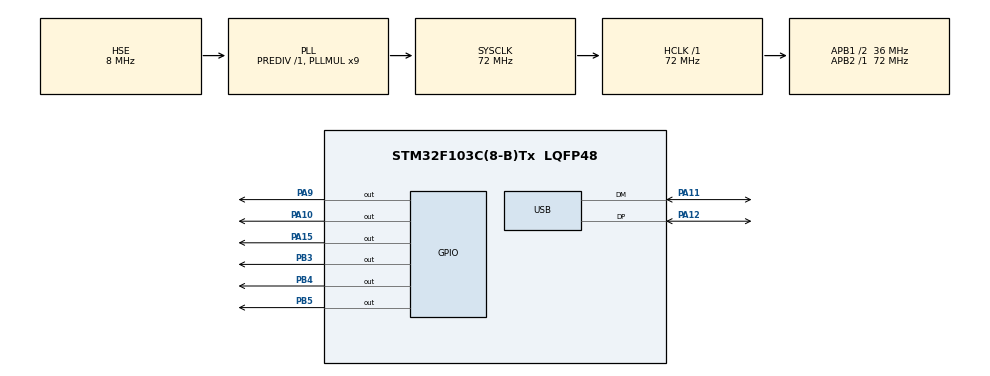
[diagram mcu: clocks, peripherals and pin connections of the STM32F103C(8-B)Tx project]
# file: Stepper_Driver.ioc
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Mcu.Family=STM32F1
Mcu.Name=STM32F103C(8-B)Tx
Mcu.Package=LQFP48
NVIC.PriorityGroup=NVIC_PRIORITYGROUP_4
NVIC.TIM2_IRQn=true\:0\:0\:false\:false\:true\:true\:true\:true
NVIC.USB_LP_CAN1_RX0_IRQn=true\:0\:0\:false\:false\:true\:false\:true\:true
PA10.Signal=GPIO_Output
PA11.Mode=Device
PA11.Signal=USB_DM
PA12.Mode=Device
PA12.Signal=USB_DP
PA15.Signal=GPIO_Output
PA9.Signal=GPIO_Output
PB3.Signal=GPIO_Output
PB4.Signal=GPIO_Output
PB5.Signal=GPIO_Output
PD0-OSC_IN.Mode=HSE-External-Oscillator
PD0-OSC_IN.Signal=RCC_OSC_IN
PD1-OSC_OUT.Mode=HSE-External-Oscillator
PD1-OSC_OUT.Signal=RCC_OSC_OUT
ProjectManager.HeapSize=0x200
ProjectManager.StackSize=0x400
ProjectManager.TargetToolchain=STM32CubeIDE
RCC.AHBFreq_Value=72000000
RCC.APB1CLKDivider=RCC_HCLK_DIV2
RCC.APB1Freq_Value=36000000
RCC.APB1TimFreq_Value=72000000
RCC.APB2Freq_Value=72000000
RCC.APB2TimFreq_Value=72000000
RCC.HCLKFreq_Value=72000000
RCC.PLLMUL=RCC_PLL_MUL9
RCC.SYSCLKFreq_VALUE=72000000
RCC.SYSCLKSource=RCC_SYSCLKSOURCE_PLLCLK
RCC.USBFreq_Value=48000000
RCC.USBPrescaler=RCC_USBCLKSOURCE_PLL_DIV1_5
TIM2.Period=374
TIM2.Prescaler=2
USB_DEVICE.CLASS_NAME_FS=CDC
USB_DEVICE.VirtualMode=Cdc
USB_DEVICE.VirtualModeFS=Cdc_FS
VP_SYS_VS_ND.Mode=No_Debug
VP_TIM2_VS_ClockSourceINT.Mode=Internal
VP_USB_DEVICE_VS_USB_DEVICE_CDC_FS.Mode=CDC_FS
board=custom

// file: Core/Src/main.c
/* USER CODE BEGIN Header */
/**
  ******************************************************************************
  * @file           : main.c
  * @brief          : Main program body
  ******************************************************************************
  * @attention
  *
  * Copyright (c) 2025 STMicroelectronics.
  * All rights reserved.
  *
  * This software is licensed under terms that can be found in the LICENSE file
  * in the root directory of this software component.
  * If no LICENSE file comes with this software, it is provided AS-IS.
  *
  ******************************************************************************
  */
/* USER CODE END Header */
#include "main.h"
#include "usb_device.h"

/* USER CODE BEGIN Includes */
#include "usbd_cdc_if.h"
#include "string.h"
#include <stdio.h>
#include <math.h>
/* USER CODE END Includes */

/* USER CODE BEGIN PD */
#define USB_BUF_LEN 128
#define UPDATE_PROFILE_PERIOD 1
/* USER CODE END PD */

TIM_HandleTypeDef htim2;

/* USER CODE BEGIN PV */
uint8_t usb_tx_buffer[USB_BUF_LEN];
uint16_t usb_tx_buf_len;

uint8_t usb_rx_buffer[USB_BUF_LEN];
uint16_t usb_rx_buf_len;
uint8_t rx_flag = 0;

float target_setpoints[3];
float current_setpoints[3];

float TICK_PERIOD = 0.015625; // ms/tick
float TICKS_PER_UPDATE;

float position_kP = 0.00024;
float MOTOR_MAX_SPEED = 0.3; // steps/tick
float MOTOR_MAX_ACCEL = 3.f; // steps/tick/s

float MOTOR_MAX_ANGLE = 70.; // degrees
float MOTOR_MIN_ANGLE = -30; // degrees
float MOTOR_MAX_ERR_STEPS;
float MOTOR_MAX_ERR_ACCEL_STEPS;

float stupid_debug_variable = 0;
float stupid_debug_variable2 = 0;

/* USER CODE END PV */

void SystemClock_Config(void);
static void MX_GPIO_Init(void);
static void MX_TIM2_Init(void);

/* USER CODE BEGIN 0 */

void USB_RX_Callback(uint8_t* Buf, uint32_t *Len){
	memcpy(usb_rx_buffer, Buf, *Len);
	usb_rx_buf_len = *Len;
	rx_flag = 1;

	usb_rx_buffer[*Len] = '\0';

	char* token = strtok((char*) usb_rx_buffer, " ");
	target_setpoints[0] = atoff(token);

	token = strtok(NULL, " ");
	target_setpoints[1] = atoff(token);

	token = strtok(NULL, " ");
	target_setpoints[2] = atoff(token);

}

float sign(float n){
	return (n > 0) ? 1.f : -1.f;
}

int Degrees_to_Steps(float angle){
	return (int)((angle/360.)*3200.);
}

float Steps_to_Degrees(int steps){
	return (steps/3200.) * 360;
}

float Ticks_to_Ms(float ticks){
	return ticks*TICK_PERIOD;
}

float Ms_to_Ticks(float ms){
	return ms/TICK_PERIOD;
}

typedef struct {
	GPIO_TypeDef* step_port;
	GPIO_TypeDef* dir_port;
	uint16_t step_pin;
	uint16_t dir_pin;
	float step_accum;
	float velocity_current;
	float speed_max;
	float accel;
	int direction;
	int position_current;
	int position_target;
	int total_error;
} StepperMotor;

StepperMotor CreateMotorDefault(GPIO_TypeDef* step_port, GPIO_TypeDef* dir_port,
		uint16_t step_pin, uint16_t dir_pin){
	return (StepperMotor){
		step_port,
		dir_port,
		step_pin,
		dir_pin,
		0,
		0,
		MOTOR_MAX_SPEED,
		MOTOR_MAX_ACCEL,
		0,
		0,
		0,
		0};
}

StepperMotor motor1;
StepperMotor motor2;
StepperMotor motor3;

// FUNCTION DEFINES

void Step_Motor(StepperMotor* motor, uint8_t* flag);

// UPDATES
void Update_Positions(float ang1, float ang2, float ang3);
void Update_Stepper(StepperMotor* motor, int new_target, float max_speed, float accel);
void Update_Stepper_Degrees(StepperMotor* motor, float position);
void Update_Stepper_Speeds();
void Update_Stepper_Speed(StepperMotor* motor, int* decel_steps, uint8_t* calc_flag);
void Update_Profiles(int steps1, int steps2, int steps3);

// UTIL

void Generate_Profile(StepperMotor* motor, float error, float speed, float accel);

/* USER CODE END 0 */

int main(void)
{

  /* USER CODE BEGIN 1 */
	TICKS_PER_UPDATE = ((float) UPDATE_PROFILE_PERIOD) / TICK_PERIOD;

  /* USER CODE END 1 */

  /* MCU Configuration--------------------------------------------------------*/

  /* Reset of all peripherals, Initializes the Flash interface and the Systick. */
  HAL_Init();

  /* Configure the system clock */
  SystemClock_Config();

  /* Initialize all configured peripherals */
  MX_GPIO_Init();
  MX_TIM2_Init();
  MX_USB_DEVICE_Init();
  /* USER CODE BEGIN 2 */

  HAL_TIM_Base_Start_IT(&htim2);
  HAL_TIM_Base_Start(&htim2);

  motor1 = CreateMotorDefault(GPIOA, GPIOA, 9, 10);
  motor2 = CreateMotorDefault(GPIOA, GPIOB, 15, 3);
  motor3 = CreateMotorDefault(GPIOB, GPIOB, 4, 5);

  uint32_t currTime = 0;
  uint32_t prevTimeProfileFollow = 0;
  uint32_t prevTimeTransmit = 0;

  motor1.position_current = Degrees_to_Steps(-32.78);
  motor2.position_current = Degrees_to_Steps(-32.78);
  motor3.position_current = Degrees_to_Steps(-32.78);

  motor1.position_target = Degrees_to_Steps(-32.78);
  motor2.position_target = Degrees_to_Steps(-32.78);
  motor3.position_target = Degrees_to_Steps(-32.78);

  MOTOR_MAX_ERR_ACCEL_STEPS = (float) Degrees_to_Steps(53);
  MOTOR_MAX_ERR_STEPS = (float) (Degrees_to_Steps(MOTOR_MAX_ANGLE) - Degrees_to_Steps(MOTOR_MIN_ANGLE));

  /* USER CODE END 2 */

  /* Infinite loop */
  /* USER CODE BEGIN WHILE */
  while (1)
  {
	currTime = HAL_GetTick();

//	if(currTime - prevTimeStepUpdate > 4000){
////			Update_Positions(-30,70,70);
//
//		Update_Positions(Steps_to_Degrees(motor1.position_current) + 10,
//		Steps_to_Degrees(motor2.position_current) + 180.,
//		Steps_to_Degrees(motor3.position_current) + 45.);
//		prevTimeStepUpdate = currTime;
//	}
//
//	else if (currTime - prevTimeStepUpdate > 3000){
//		Update_Positions(-180,-180,-180);
//	}
//
//	else if (currTime - prevTimeStepUpdate > 2000){
//			Update_Positions(70,-10,0);
//	}
//
//	else if (currTime - prevTimeStepUpdate > 1000){
//		Update_Positions(180,180,180);
//	}

	if(currTime - prevTimeProfileFollow >= UPDATE_PROFILE_PERIOD){

		Update_Stepper_Speeds();

		prevTimeProfileFollow = currTime;
	}

	if(currTime - prevTimeTransmit >= 50){
		if(1){//motor1.position_current != motor1.position_target){
			usb_tx_buf_len = snprintf((char*) usb_tx_buffer, USB_BUF_LEN,
					"vi %f vm %f pc %d pt %d debug: %f %f\r\n",
					motor1.velocity_current,
					motor1.speed_max,
					motor1.position_current,
					motor1.position_target,
					stupid_debug_variable,
					stupid_debug_variable2);
			CDC_Transmit_FS(usb_tx_buffer, usb_tx_buf_len);
		}
		prevTimeTransmit = currTime;
	}

	if(rx_flag && usb_rx_buf_len){

		//usb_tx_buf_len = snprintf((char*) usb_tx_buffer, USB_BUF_LEN, "%0.2f %0.2f %0.2f\r\n", target_setpoints[0] ,target_setpoints[1], target_setpoints[2]);
		//CDC_Transmit_FS(usb_tx_buffer, usb_tx_buf_len);

		Update_Positions(target_setpoints[0], target_setpoints[1], target_setpoints[2]);

		rx_flag = 0;
		usb_rx_buf_len = 0;

		prevTimeTransmit = currTime;

	}

    /* USER CODE END WHILE */

  }
}

void SystemClock_Config(void)
{
  RCC_OscInitTypeDef RCC_OscInitStruct = {0};
  RCC_ClkInitTypeDef RCC_ClkInitStruct = {0};
  RCC_PeriphCLKInitTypeDef PeriphClkInit = {0};

  /** Initializes the RCC Oscillators according to the specified parameters
  * in the RCC_OscInitTypeDef structure.
  */
  RCC_OscInitStruct.OscillatorType = RCC_OSCILLATORTYPE_HSE;
  RCC_OscInitStruct.HSEState = RCC_HSE_ON;
  RCC_OscInitStruct.HSEPredivValue = RCC_HSE_PREDIV_DIV1;
  RCC_OscInitStruct.HSIState = RCC_HSI_ON;
  RCC_OscInitStruct.PLL.PLLState = RCC_PLL_ON;
  RCC_OscInitStruct.PLL.PLLSource = RCC_PLLSOURCE_HSE;
  RCC_OscInitStruct.PLL.PLLMUL = RCC_PLL_MUL9;
  if (HAL_RCC_OscConfig(&RCC_OscInitStruct) != HAL_OK)
  {
    Error_Handler();
  }

  /** Initializes the CPU, AHB and APB buses clocks
  */
  RCC_ClkInitStruct.ClockType = RCC_CLOCKTYPE_HCLK|RCC_CLOCKTYPE_SYSCLK
                              |RCC_CLOCKTYPE_PCLK1|RCC_CLOCKTYPE_PCLK2;
  RCC_ClkInitStruct.SYSCLKSource = RCC_SYSCLKSOURCE_PLLCLK;
  RCC_ClkInitStruct.AHBCLKDivider = RCC_SYSCLK_DIV1;
  RCC_ClkInitStruct.APB1CLKDivider = RCC_HCLK_DIV2;
  RCC_ClkInitStruct.APB2CLKDivider = RCC_HCLK_DIV1;

  if (HAL_RCC_ClockConfig(&RCC_ClkInitStruct, FLASH_LATENCY_2) != HAL_OK)
  {
    Error_Handler();
  }
  PeriphClkInit.PeriphClockSelection = RCC_PERIPHCLK_USB;
  PeriphClkInit.UsbClockSelection = RCC_USBCLKSOURCE_PLL_DIV1_5;
  if (HAL_RCCEx_PeriphCLKConfig(&PeriphClkInit) != HAL_OK)
  {
    Error_Handler();
  }
}

static void MX_TIM2_Init(void)
{

  TIM_ClockConfigTypeDef sClockSourceConfig = {0};
  TIM_MasterConfigTypeDef sMasterConfig = {0};

  htim2.Instance = TIM2;
  htim2.Init.Prescaler = 2;
  htim2.Init.CounterMode = TIM_COUNTERMODE_UP;
  htim2.Init.Period = 374;
  htim2.Init.ClockDivision = TIM_CLOCKDIVISION_DIV1;
  htim2.Init.AutoReloadPreload = TIM_AUTORELOAD_PRELOAD_DISABLE;
  if (HAL_TIM_Base_Init(&htim2) != HAL_OK)
  {
    Error_Handler();
  }
  sClockSourceConfig.ClockSource = TIM_CLOCKSOURCE_INTERNAL;
  if (HAL_TIM_ConfigClockSource(&htim2, &sClockSourceConfig) != HAL_OK)
  {
    Error_Handler();
  }
  sMasterConfig.MasterOutputTrigger = TIM_TRGO_RESET;
  sMasterConfig.MasterSlaveMode = TIM_MASTERSLAVEMODE_DISABLE;
  if (HAL_TIMEx_MasterConfigSynchronization(&htim2, &sMasterConfig) != HAL_OK)
  {
    Error_Handler();
  }

}

static void MX_GPIO_Init(void)
{
  GPIO_InitTypeDef GPIO_InitStruct = {0};

  /* GPIO Ports Clock Enable */
  __HAL_RCC_GPIOD_CLK_ENABLE();
  __HAL_RCC_GPIOA_CLK_ENABLE();
  __HAL_RCC_GPIOB_CLK_ENABLE();

  /*Configure GPIO pin Output Level */
  HAL_GPIO_WritePin(GPIOA, GPIO_PIN_9|GPIO_PIN_10|GPIO_PIN_15, GPIO_PIN_RESET);

  /*Configure GPIO pin Output Level */
  HAL_GPIO_WritePin(GPIOB, GPIO_PIN_3|GPIO_PIN_4|GPIO_PIN_5, GPIO_PIN_RESET);

  /*Configure GPIO pins : PA9 PA10 PA15 */
  GPIO_InitStruct.Pin = GPIO_PIN_9|GPIO_PIN_10|GPIO_PIN_15;
  GPIO_InitStruct.Mode = GPIO_MODE_OUTPUT_PP;
  GPIO_InitStruct.Pull = GPIO_NOPULL;
  GPIO_InitStruct.Speed = GPIO_SPEED_FREQ_LOW;
  HAL_GPIO_Init(GPIOA, &GPIO_InitStruct);

  /*Configure GPIO pins : PB3 PB4 PB5 */
  GPIO_InitStruct.Pin = GPIO_PIN_3|GPIO_PIN_4|GPIO_PIN_5;
  GPIO_InitStruct.Mode = GPIO_MODE_OUTPUT_PP;
  GPIO_InitStruct.Pull = GPIO_NOPULL;
  GPIO_InitStruct.Speed = GPIO_SPEED_FREQ_LOW;
  HAL_GPIO_Init(GPIOB, &GPIO_InitStruct);

}

/* USER CODE BEGIN 4 */

void HAL_TIM_PeriodElapsedCallback(TIM_HandleTypeDef *htim){

	static uint8_t step_flag_1;
	static uint8_t step_flag_2;
	static uint8_t step_flag_3;

	Step_Motor(&motor1, &step_flag_1);
	Step_Motor(&motor2, &step_flag_2);
	Step_Motor(&motor3, &step_flag_3);
}

void Step_Motor(StepperMotor* motor, uint8_t* flag){

	if(motor->position_current != motor->position_target){

		motor->step_accum += fabsf(motor->velocity_current);

		if(motor->velocity_current > 0){
			motor->dir_port->BSRR = (1 << motor->dir_pin);
			motor->direction = 1;
		}
		else{
			motor->dir_port->BSRR = (1 << (motor->dir_pin+16));
			motor->direction = 0;
		}

		if(motor->step_accum < 1.0f){
			if(*flag){
				motor->step_port->BSRR = (1 << (motor->step_pin+16));
				*flag = 0;
			}
		}

		else{
			motor->step_accum -= 1.0f;
			*flag = 1;
			motor->step_port->BSRR = (1 << (motor->step_pin));

			if(motor->direction){
				motor->position_current++;
			} else {
				motor->position_current--;

			}

			if(motor->position_current == motor->position_target){
				 motor->step_port->BSRR = (1 << (motor->step_pin+16));
				 *flag = 0;
			}
		}
	}

}

void Update_Stepper(StepperMotor* motor, int new_target, float max_speed, float new_accel){
	motor->position_target = new_target;
	motor->speed_max = max_speed;
	motor->accel = new_accel/1000.f; // convert s to ms
	motor->total_error = abs(new_target - motor->position_current);
}

void Update_Stepper_Speeds(){
	static int decel_steps_1;
	static int decel_steps_2;
	static int decel_steps_3;

	static uint8_t calc_flag_1;
	static uint8_t calc_flag_2;
	static uint8_t calc_flag_3;

	Update_Stepper_Speed(&motor1, &decel_steps_1, &calc_flag_1);
	Update_Stepper_Speed(&motor2, &decel_steps_2, &calc_flag_2);
	Update_Stepper_Speed(&motor3, &decel_steps_3, &calc_flag_3);
}

void Update_Stepper_Speed(StepperMotor* motor, int* decel_steps, uint8_t* calc_flag){
	int curr_pos = motor->position_current;
	int targ_pos = motor->position_target;
	int curr_err = targ_pos - curr_pos;

	int tot_err_half = motor->total_error/2;

	float curr_vel = motor->velocity_current;
	float max_spd = motor->speed_max;

	float accel = motor->accel; // steps/tick/ms

	float dir = sign((float) curr_err); // direction of max vel and accel

	//motor at position
	if (curr_err == 0) {
		motor->velocity_current = 0;
	}

	//error is within first half of profile
	else if(abs(curr_err) >= tot_err_half){
		// if velocity not at max
		if((dir > 0 && curr_vel < max_spd) || (dir < 0 && curr_vel > -max_spd)){
			motor->velocity_current += dir*accel* (float) UPDATE_PROFILE_PERIOD;
		}
		else{
			motor->velocity_current = dir*max_spd;
		}

		*calc_flag = 0;

		stupid_debug_variable = -100;
		stupid_debug_variable2 = -100;
	}

	//error is within second half of profile
	else if(abs(curr_err) < tot_err_half){

		if(!*calc_flag){
			float accelTicks = fabsf(accel / TICK_PERIOD);
			*decel_steps = (int) ((curr_vel*curr_vel)/(2.f*accelTicks));

			stupid_debug_variable = *decel_steps;

			int test_steps = 0;

			float sim_curr_vel = fabsf(curr_vel);
			float sim_accum = 0.f;
			int new_steps = 0;

			while(sim_curr_vel > 0){
				sim_accum += sim_curr_vel * TICKS_PER_UPDATE;

				new_steps = (int) sim_accum;
				test_steps += new_steps;
				sim_accum -= new_steps;

				sim_curr_vel -= accel * (float) UPDATE_PROFILE_PERIOD;
			}

			stupid_debug_variable2 = test_steps;

			*decel_steps = test_steps;

			*calc_flag = 1;
		}

		// within deceleration range
		if(abs(curr_err) <= *decel_steps){
			stupid_debug_variable = (float) *decel_steps;
			if(abs(curr_err) >= 1){
				motor->velocity_current -= dir * accel * (float) UPDATE_PROFILE_PERIOD;
				if(motor->velocity_current * dir < 0){
					motor->velocity_current = 0;
					motor->position_current = motor->position_target;
				}
			}
			else{
				motor->velocity_current = 0;
				motor->position_current = motor->position_target;
			}
		}
	}

}

void Update_Positions(float ang1, float ang2, float ang3){

	float ang1Lim = fmaxf(fminf(ang1, MOTOR_MAX_ANGLE), MOTOR_MIN_ANGLE);
	float ang2Lim = fmaxf(fminf(ang2, MOTOR_MAX_ANGLE), MOTOR_MIN_ANGLE);
	float ang3Lim = fmaxf(fminf(ang3, MOTOR_MAX_ANGLE), MOTOR_MIN_ANGLE);

	int steps1 = Degrees_to_Steps(ang1Lim);
	int steps2 = Degrees_to_Steps(ang2Lim);
	int steps3 = Degrees_to_Steps(ang3Lim);

	float err1 = (float) abs(steps1 - motor1.position_current);
	float err2 = (float) abs(steps2 - motor2.position_current);
	float err3 = (float) abs(steps3 - motor3.position_current);

	float maxErr = fmaxf(fmaxf(fabsf(err1), fabsf(err2)), fabsf(err3));
	float maxSpeed = fminf((MOTOR_MAX_SPEED/(MOTOR_MAX_ERR_STEPS)) * maxErr, MOTOR_MAX_SPEED);

	if(maxErr > 0){
		Update_Stepper(&motor1, steps1, maxSpeed*(err1/maxErr),
				fminf(MOTOR_MAX_ACCEL*(err1/MOTOR_MAX_ERR_ACCEL_STEPS), MOTOR_MAX_ACCEL));
		Update_Stepper(&motor2, steps2, maxSpeed*(err2/maxErr),
				fminf(MOTOR_MAX_ACCEL*(err2/MOTOR_MAX_ERR_ACCEL_STEPS), MOTOR_MAX_ACCEL));
		Update_Stepper(&motor3, steps3, maxSpeed*(err3/maxErr),
				fminf(MOTOR_MAX_ACCEL*(err3/MOTOR_MAX_ERR_ACCEL_STEPS), MOTOR_MAX_ACCEL));
	}

}

/* USER CODE END 4 */

void Error_Handler(void)
{
  __disable_irq();
  while (1)
  {
  }
}
